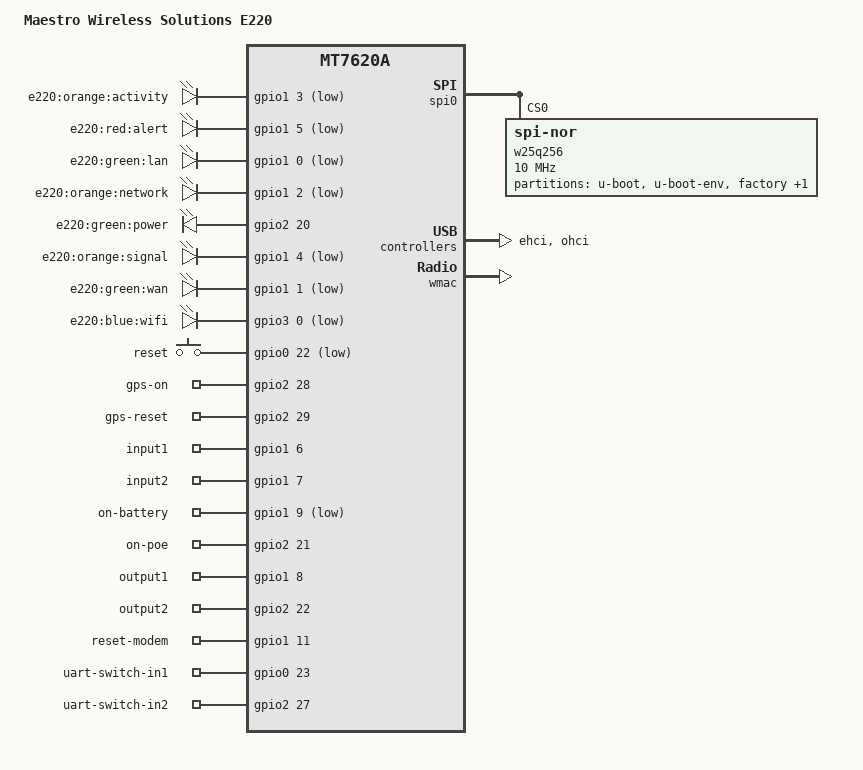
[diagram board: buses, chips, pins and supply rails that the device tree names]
/dts-v1/;

#include "mt7620a.dtsi"

#include <dt-bindings/gpio/gpio.h>
#include <dt-bindings/input/input.h>

/ {
	compatible = "e220", "mediatek,mt7620a-soc";
	model = "Maestro Wireless Solutions E220";

	chosen {
		bootargs = "console=ttyS0,115200";
	};

	gpio-leds {
		compatible = "gpio-leds";

		activity {
			label = "e220:orange:activity";
			gpios = <&gpio1 3 GPIO_ACTIVE_LOW>;
		};

		alert {
			label = "e220:red:alert";
			gpios = <&gpio1 5 GPIO_ACTIVE_LOW>;
		};

		lan {
			label = "e220:green:lan";
			gpios = <&gpio1 0 GPIO_ACTIVE_LOW>;
		};

		network {
			label = "e220:orange:network";
			gpios = <&gpio1 2 GPIO_ACTIVE_LOW>;
		};

		power {
			label = "e220:green:power";
			gpios = <&gpio2 20 GPIO_ACTIVE_HIGH>;
		};

		signal {
			label = "e220:orange:signal";
			gpios = <&gpio1 4 GPIO_ACTIVE_LOW>;
		};

		wan {
			label = "e220:green:wan";
			gpios = <&gpio1 1 GPIO_ACTIVE_LOW>;
		};

		wifi {
			label = "e220:blue:wifi";
			gpios = <&gpio3 0 GPIO_ACTIVE_LOW>;
		};
	};

	gpio-keys {
		compatible = "gpio-keys-polled";
		#address-cells = <1>;
		#size-cells = <0>;
		poll-interval = <20>;

		reset {
			label = "reset";
			gpios = <&gpio0 22 GPIO_ACTIVE_LOW>;
			linux,code = <KEY_RESTART>;
		};
	};

	gpio_export {
		compatible = "gpio-export";
		#size-cells = <0>;

		gps-on {
			gpio-export,name = "gps-on";
			gpio-export,output = <0>;
			gpios = <&gpio2 28 GPIO_ACTIVE_HIGH>;
		};

		gps-reset {
			gpio-export,name = "gps-reset";
			gpio-export,output = <0>;
			gpios = <&gpio2 29 GPIO_ACTIVE_HIGH>;
		};

		input1 {
			gpio-export,name = "input1";
			gpios = <&gpio1 6 GPIO_ACTIVE_HIGH>;
		};

		input2 {
			gpio-export,name = "input2";
			gpios = <&gpio1 7 GPIO_ACTIVE_HIGH>;
		};

		on-battery {
			gpio-export,name = "on-battery";
			gpios = <&gpio1 9 GPIO_ACTIVE_LOW>;
		};

		on-poe {
			gpio-export,name = "on-poe";
			gpios = <&gpio2 21 GPIO_ACTIVE_HIGH>;
		};

		output1 {
			gpio-export,name = "output1";
			gpio-export,output = <0>;
			gpios = <&gpio1 8 GPIO_ACTIVE_HIGH>;
		};

		output2 {
			gpio-export,name = "output2";
			gpio-export,output = <0>;
			gpios = <&gpio2 22 GPIO_ACTIVE_HIGH>;
		};

		reset-modem {
			gpio-export,name = "reset-modem";
			gpio-export,output = <0>;
			gpios = <&gpio1 11 GPIO_ACTIVE_HIGH>;
		};

		uart-switch-in1 {
			gpio-export,name = "uart-switch-in1";
			gpio-export,output = <1>;
			gpios = <&gpio0 23 GPIO_ACTIVE_HIGH>;
		};

		uart-switch-in2 {
			gpio-export,name = "uart-switch-in2";
			gpio-export,output = <0>;
			gpios = <&gpio2 27 GPIO_ACTIVE_HIGH>;
		};
	};
};

&gpio1 {
	status = "okay";
};

&gpio2 {
	status = "okay";
};

&gpio3 {
	status = "okay";
};

&spi0 {
	status = "okay";

	w25q256@0 {
		#address-cells = <1>;
		#size-cells = <1>;
		compatible = "jedec,spi-nor";
		reg = <0 0>;
		spi-max-frequency = <10000000>;

		partition@0 {
			label = "u-boot";
			reg = <0x0 0x30000>;
			read-only;
		};

		partition@30000 {
			label = "u-boot-env";
			reg = <0x30000 0x10000>;
			read-only;
		};

		factory: partition@40000 {
			label = "factory";
			reg = <0x40000 0x10000>;
			read-only;
		};

		partition@50000 {
			label = "firmware";
			reg = <0x50000 0xFB0000>;
		};
	};
};

&ehci {
	status = "okay";
};

&ohci {
	status = "okay";
};

&ethernet {
	pinctrl-names = "default";
	pinctrl-0 = <&ephy_pins>;
	mtd-mac-address = <&factory 0x4>;
	mediatek,portmap = "llllw";
};

&wmac {
	ralink,mtd-eeprom = <&factory 0>;
};

&pinctrl {
	state_default: pinctrl0 {
		gpio {
			ralink,group = "wled", "rgmii1", "rgmii2", "mdio";
			ralink,function = "gpio";
		};
	};
	i2c_pins: i2c {
		i2c {
			ralink,group = "i2c";
			ralink,function = "i2c";
		};
	};
};
